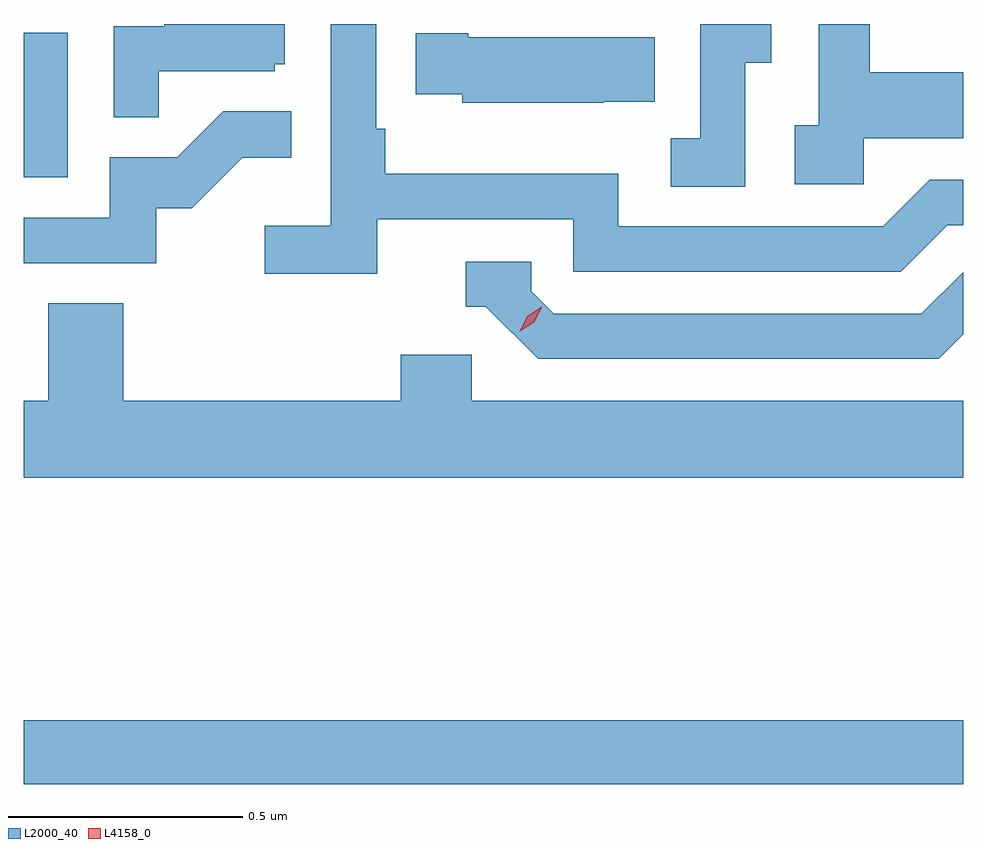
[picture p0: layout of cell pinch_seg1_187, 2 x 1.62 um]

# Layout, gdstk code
import gdstk
lib = gdstk.Library(unit=1e-6, precision=1e-09)
def R(c, l, rs):  # rectangles x0, y0, x1, y1
    for r in rs: c.add(gdstk.rectangle(r[:2], r[2:], *l))
def P(c, l, *ps):  # polygons
    for p in ps: c.add(gdstk.Polygon(p, *l))
L2000_40 = (2000, 40)
L4158_0 = (4158, 0)

pinch_seg1_187 = lib.new_cell('pinch_seg1_187')
R(pinch_seg1_187, L2000_40, [(1090.464,561.736,1092.464,561.872), (1090.464,563.028,1090.558,563.335)])
P(pinch_seg1_187, L2000_40, [(1091.216,562.938),(1091.634,562.938),(1091.634,562.827),(1092.331,562.827),(1092.43,562.926),(1092.464,562.926),(1092.464,563.022),(1092.393,563.022),(1092.294,562.923),(1091.73,562.923),(1091.73,563.035),(1091.234,563.035),(1091.234,563.131),(1091.214,563.131),(1091.214,563.354),(1091.118,563.354),(1091.118,562.924),(1090.977,562.924),(1090.977,562.822),(1091.216,562.822)],
  [(1092,563.272),(1092.055,563.272),(1092.055,563.354),(1091.904,563.354),(1091.904,563.111),(1091.841,563.111),(1091.841,563.008),(1092,563.008)],
  [(1090.751,563.253),(1090.998,563.253),(1090.998,563.268),(1091.02,563.268),(1091.02,563.354),(1090.763,563.354),(1090.763,563.349),(1090.656,563.349),(1090.656,563.155),(1090.751,563.155)],
  [(1092.252,563.111),(1092.464,563.111),(1092.464,563.251),(1092.265,563.251),(1092.265,563.354),(1092.156,563.354),(1092.156,563.138),(1092.105,563.138),(1092.105,563.013),(1092.252,563.013)],
  [(1091.699,563.189),(1091.807,563.189),(1091.807,563.326),(1091.41,563.326),(1091.41,563.334),(1091.299,563.334),(1091.299,563.204),(1091.397,563.204),(1091.397,563.186),(1091.699,563.186)],
  [(1090.746,562.962),(1090.822,562.962),(1090.929,563.069),(1091.033,563.069),(1091.033,563.168),(1090.889,563.168),(1090.791,563.07),(1090.647,563.07),(1090.647,562.941),(1090.464,562.941),(1090.464,562.845),(1090.746,562.845)],
  [(1092.464,562.693),(1092.464,562.826),(1092.375,562.737),(1091.592,562.737),(1091.544,562.785),(1091.544,562.848),(1091.405,562.848),(1091.405,562.752),(1091.448,562.752),(1091.559,562.641),(1092.412,562.641)],
  [(1092.464,562.552),(1091.418,562.552),(1091.418,562.65),(1091.267,562.65),(1091.267,562.552),(1090.676,562.552),(1090.676,562.76),(1090.516,562.76),(1090.516,562.552),(1090.464,562.552),(1090.464,562.388),(1092.464,562.388)])
P(pinch_seg1_187, L4158_0, [(1091.52,562.7),(1091.52,562.7),(1091.536,562.732),(1091.567,562.752),(1091.567,562.752),(1091.567,562.751),(1091.551,562.719),(1091.52,562.7)])

lib.write_gds('pinch_seg1_187.gds')
